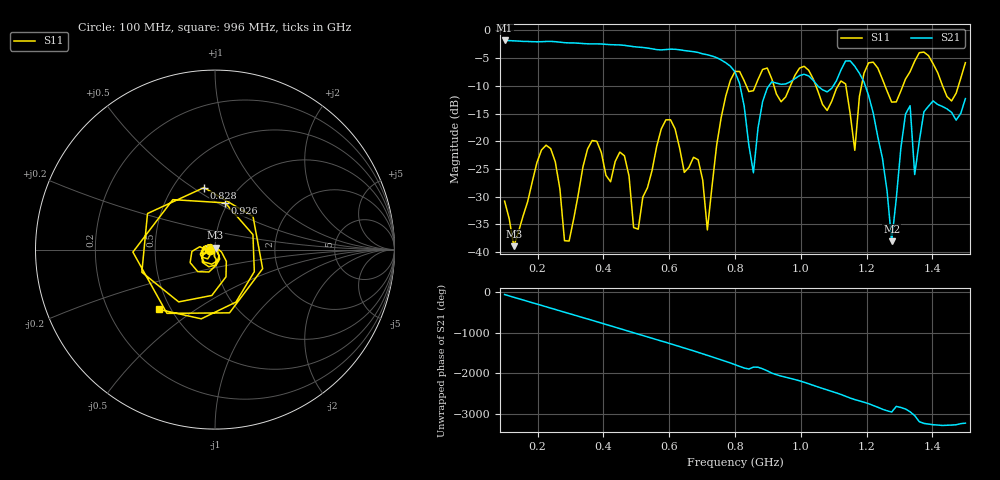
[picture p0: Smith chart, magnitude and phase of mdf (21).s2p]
! NanoVNA-App
! Date: 2025-09-25 15:38:35
! Start: 100MHz Stop: 1,5GHz Points: 101
! S-Parameter data: F S11 S21 S12 S22
# Hz S RI R 50
!  Frequency  S11_Real  S11_Imag  S21_Real  S21_Imag  S12_Real  S12_Imag  S22_Real  S22_Imag
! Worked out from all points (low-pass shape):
!   101 points, 100 MHz to 1.5 GHz, reference 50 ohm
!   highest |S21| = -1.80 dB at 100 MHz (marker M1); lowest = -38.0 dB at 1.276 GHz (marker M2)
!   |S21| within 3 dB of the highest: start of sweep to 739.3 MHz
!   lowest |S11| = -38.9 dB at 128 MHz (marker M3), VSWR 1.02, Z = 50.3 + j1.08 ohm
!   |S11| at or under -10 dB: start of sweep to 781.1 MHz; 918.3 MHz to 968.3 MHz (49.94 MHz wide, 5.29 % of centre); 1.046 GHz to 1.113 GHz (67.32 MHz wide, 6.24 % of centre) (the widest 3 of 7)
!   S12 and S22 are empty: the file has one direction only
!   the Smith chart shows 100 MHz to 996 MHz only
!   S11 on the Smith chart (normalised r, x): 100 MHz: 0.94, -0.01; 828 MHz: 0.70, +0.55; 926 MHz: 0.97, +0.54; 996 MHz: 0.43, -0.36
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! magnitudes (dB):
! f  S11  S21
! 100 MHz  -30.8  -1.8
! 128 MHz  -38.9  -1.9
! 212 MHz  -21.6  -2.0
! 282 MHz  -38.0  -2.2
! 338 MHz  -24.6  -2.4
! 464 MHz  -22.6  -2.7
! 506 MHz  -35.9  -3.0
! 576 MHz  -17.8  -3.5
! 716 MHz  -36.0  -4.4
! 800 MHz  -7.4  -7.5
! 828 MHz  -9.1  -13.7
! 856 MHz  -10.9  -25.7
! 926 MHz  -11.5  -9.5
! 996 MHz  -6.8  -8.2
! 1.038 GHz  -8.8  -9.0
! 1.136 GHz  -9.7  -5.5
! 1.164 GHz  -21.6  -6.5
! 1.192 GHz  -7.7  -9.3
! 1.276 GHz  -12.9  -38.0
! 1.318 GHz  -8.8  -15.1
! 1.346 GHz  -5.5  -26.0
! 1.5 GHz  -5.8  -12.3
